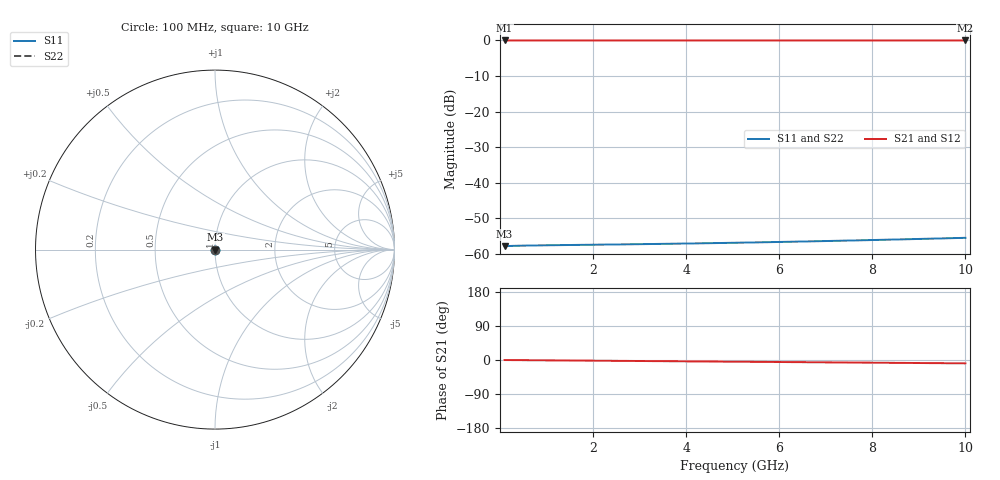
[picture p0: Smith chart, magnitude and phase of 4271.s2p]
# Hz S RI R 50.00
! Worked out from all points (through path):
!   100 points, 100 MHz to 10 GHz, reference 50 ohm
!   highest |S21| = -0.01 dB at 100 MHz (marker M1); lowest = 0.0 dB at 10 GHz (marker M2)
!   group delay of S21, straight-line fit = 2.46 ps
!   lowest |S11| = -57.9 dB at 100 MHz (marker M3), VSWR 1.00, Z = 50.1 - j0.00107 ohm
!   |S11| at or under -10 dB: start of sweep to end of sweep
!   |S22| runs from -57.9 to -55.5 dB; largest |S21 - S12| = 0
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1e8  0.00128 -1.07e-05  0.9987 -0.00154  0.9987 -0.00154  0.00128 -1.07e-05
2e8  0.00129 -2.14e-05  0.9987 -0.00308  0.9987 -0.00308  0.00129 -2.14e-05
3e8  0.00129 -3.21e-05  0.9987 -0.00462  0.9987 -0.00462  0.00129 -3.21e-05
4e8  0.0013 -4.28e-05  0.9987 -0.00616  0.9987 -0.00616  0.0013 -4.28e-05
6e8  0.0013 -6.43e-05  0.9986 -0.00925  0.9986 -0.00925  0.0013 -6.43e-05
8e8  0.00131 -8.59e-05  0.9986 -0.0123  0.9986 -0.0123  0.00131 -8.59e-05
1e9  0.00131 -0.000108  0.9986 -0.0154  0.9986 -0.0154  0.00131 -0.000108
1.3e9  0.00132 -0.00014  0.9985 -0.02  0.9985 -0.02  0.00132 -0.00014
1.8e9  0.00132 -0.000195  0.9983 -0.0277  0.9983 -0.0277  0.00132 -0.000195
2.7e9  0.00132 -0.000294  0.9978 -0.0416  0.9978 -0.0416  0.00132 -0.000294
3.4e9  0.00132 -0.000372  0.9972 -0.0524  0.9972 -0.0524  0.00132 -0.000372
3.9e9  0.00132 -0.000428  0.9968 -0.0601  0.9968 -0.0601  0.00132 -0.000428
4.3e9  0.00132 -0.000473  0.9964 -0.0662  0.9964 -0.0662  0.00132 -0.000473
4.7e9  0.00132 -0.000519  0.9959 -0.0724  0.9959 -0.0724  0.00132 -0.000519
5.1e9  0.00131 -0.000565  0.9955 -0.0785  0.9955 -0.0785  0.00131 -0.000565
5.5e9  0.00131 -0.000611  0.995 -0.0847  0.995 -0.0847  0.00131 -0.000611
5.9e9  0.0013 -0.000657  0.9944 -0.0909  0.9944 -0.0909  0.0013 -0.000657
6.7e9  0.00129 -0.000751  0.9932 -0.1031  0.9932 -0.1031  0.00129 -0.000751
7.5e9  0.00128 -0.000845  0.9918 -0.1154  0.9918 -0.1154  0.00128 -0.000845
8.4e9  0.00126 -0.000953  0.9901 -0.1292  0.9901 -0.1292  0.00126 -0.000953
9.2e9  0.00124 -0.00105  0.9884 -0.1415  0.9884 -0.1415  0.00124 -0.00105
1e10  0.00122 -0.00115  0.9866 -0.1537  0.9866 -0.1537  0.00122 -0.00115
